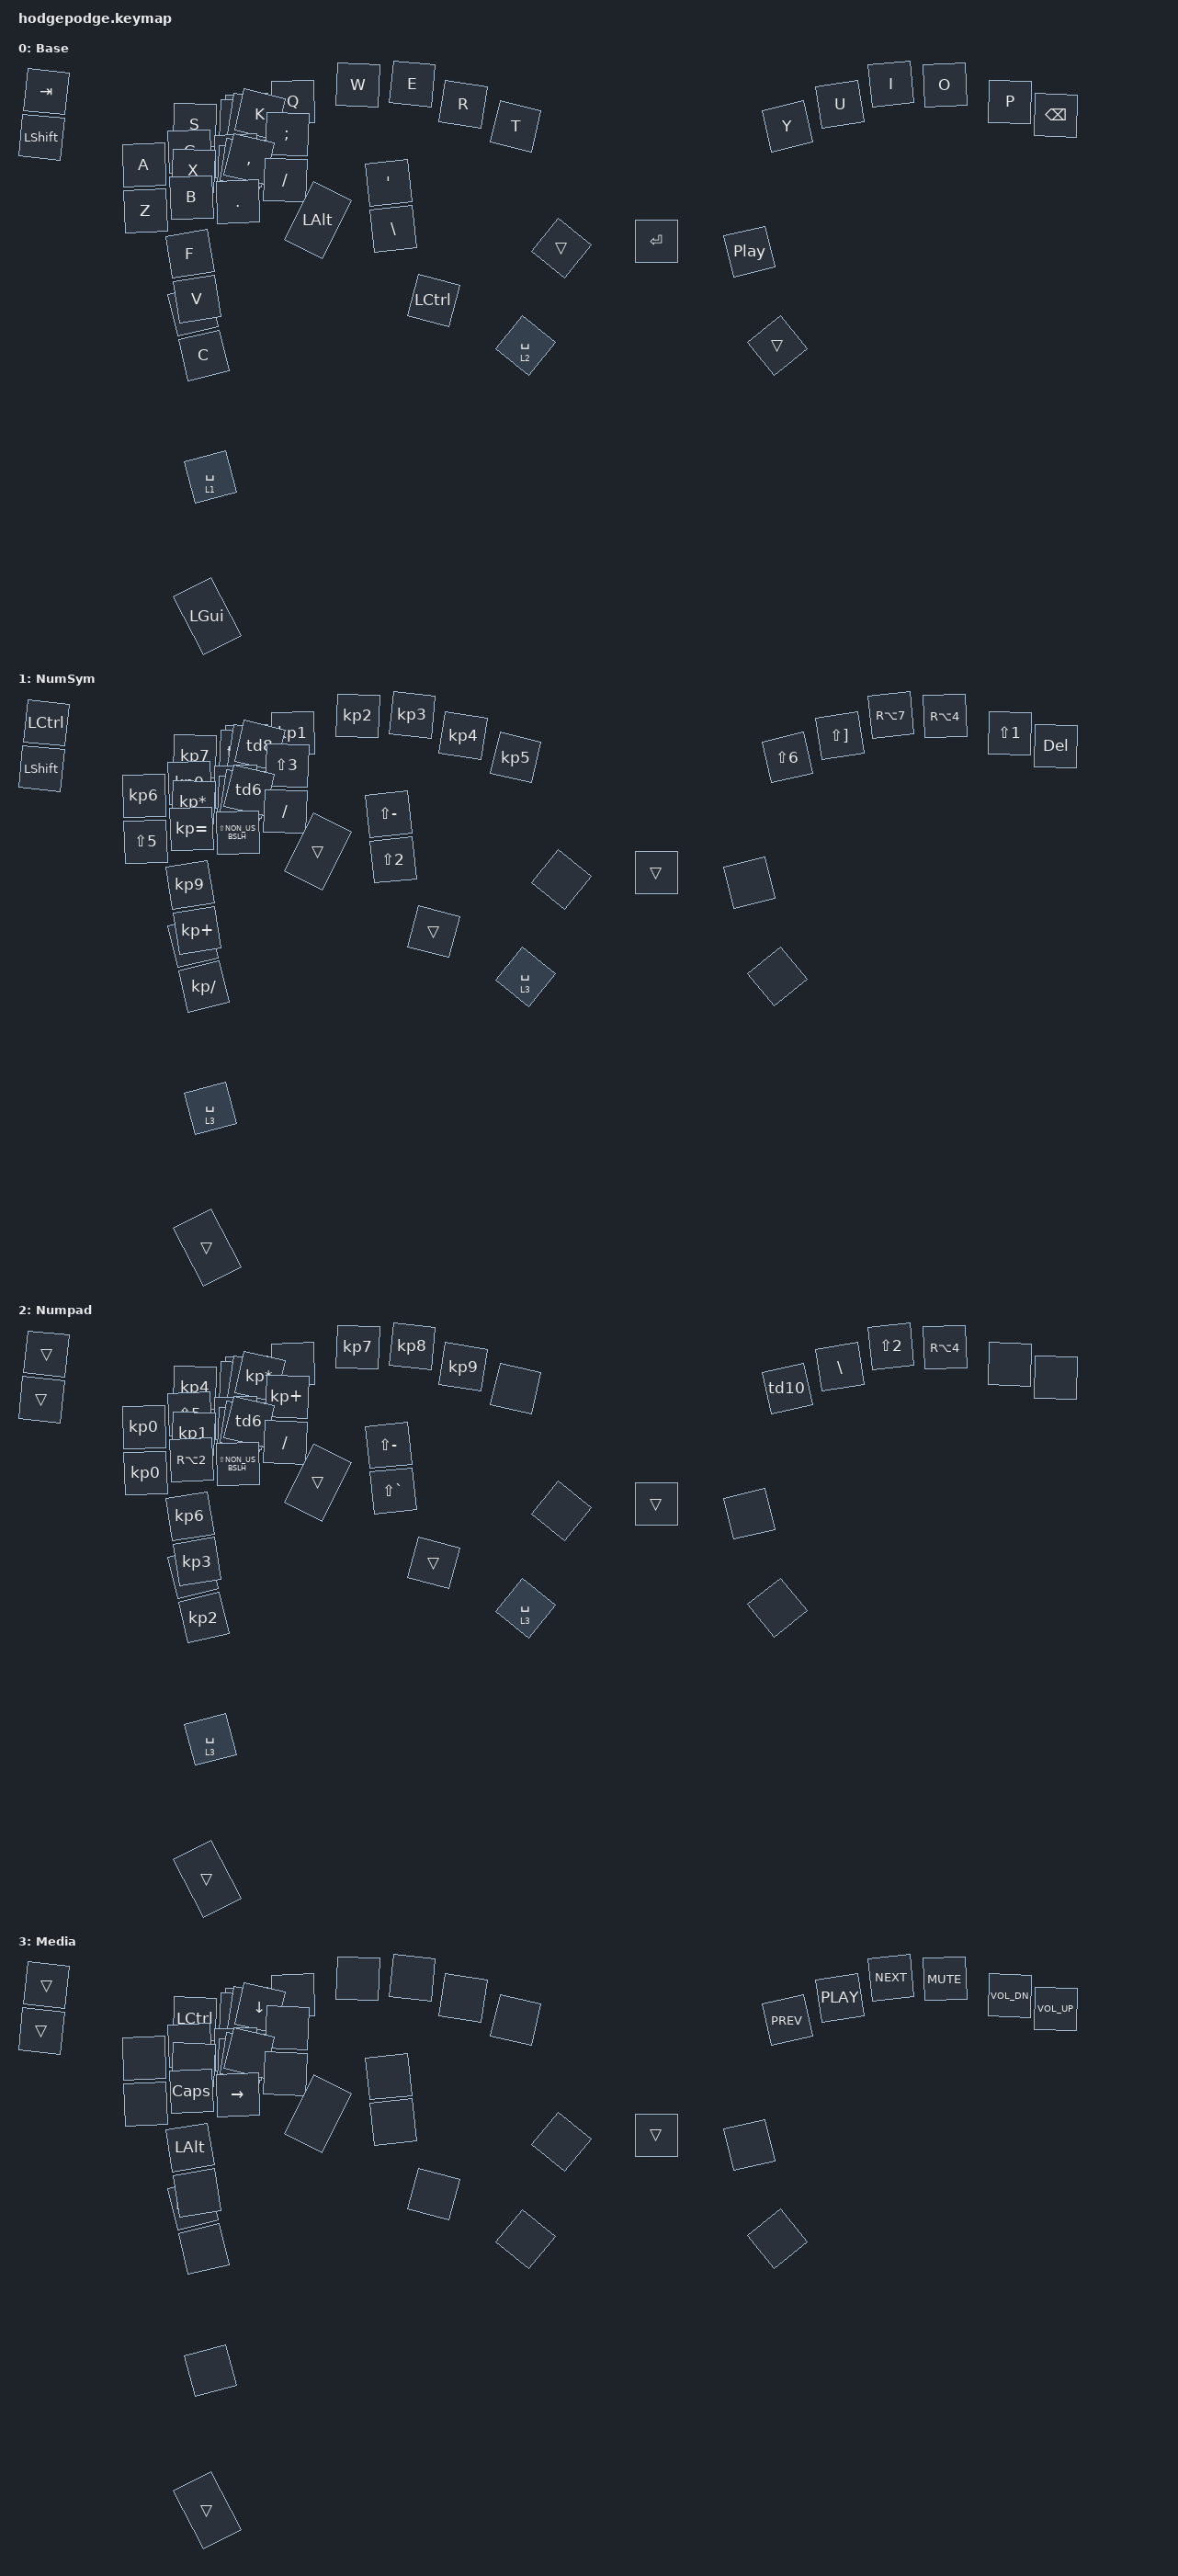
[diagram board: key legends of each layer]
#include <behaviors.dtsi>
#include <dt-bindings/zmk/keys.h>
#include <dt-bindings/zmk/bt.h>

#ifndef KP_1
#define KP_0 0x62
#define KP_1 0x59
#define KP_2 0x5A
#define KP_3 0x5B
#define KP_4 0x5C
#define KP_5 0x5D
#define KP_6 0x5E
#define KP_7 0x5F
#define KP_8 0x60
#define KP_9 0x61
#define KP_SLASH 0x54
#define KP_ASTERISK 0x55
#define KP_PLUS 0x57
#define KP_EQUAL 0x67
#endif

/ {
	behaviors {
		td5: tap_dance_5 {
			compatible = "zmk,behavior-tap-dance";
			label = "TD5";
			#binding-cells = <0>;
			tapping-term-ms = <200>;
			bindings = <&kp LA(RBKT) &macro_6>;
		};
		
		td6: tap_dance_6 {
			compatible = "zmk,behavior-tap-dance";
			label = "TD6";
			#binding-cells = <0>;
			tapping-term-ms = <200>;
			bindings = <&kp NON_US_BSLH &macro_9>;
		};
		
		td7: tap_dance_7 {
			compatible = "zmk,behavior-tap-dance";
			label = "TD7";
			#binding-cells = <0>;
			tapping-term-ms = <200>;
			bindings = <&kp LS(N8) &macro_10>;
		};
		
		td8: tap_dance_8 {
			compatible = "zmk,behavior-tap-dance";
			label = "TD8";
			#binding-cells = <0>;
			tapping-term-ms = <200>;
			bindings = <&kp LA(N8) &macro_11>;
		};
		
		td9: tap_dance_9 {
			compatible = "zmk,behavior-tap-dance";
			label = "TD9";
			#binding-cells = <0>;
			tapping-term-ms = <200>;
			bindings = <&kp LS(LA(N8)) &macro_12>;
		};
		
		td10: tap_dance_10 {
			compatible = "zmk,behavior-tap-dance";
			label = "TD10";
			#binding-cells = <0>;
			tapping-term-ms = <200>;
			bindings = <&kp LS(EQUAL) &macro_13>;
		};
	};
	
	macros {
		macro_6: macro_6 {
			label = "M6";
			compatible = "zmk,behavior-macro";
			#binding-cells = <0>;
			bindings = <&kp LA(RBKT) &kp KP_SLASH>;
		};
		
		macro_7: macro_7 {
			label = "M7";
			compatible = "zmk,behavior-macro";
			#binding-cells = <0>;
			bindings = <&kp P &kp LBKT>;
		};
		
		macro_9: macro_9 {
			label = "M9";
			compatible = "zmk,behavior-macro";
			#binding-cells = <0>;
			bindings = <&kp NON_US_BSLH &kp KP_SLASH>;
		};
		
		macro_10: macro_10 {
			label = "M10";
			compatible = "zmk,behavior-macro";
			#binding-cells = <0>;
			bindings = <&kp LS(N8) &kp LS(N9) &kp LEFT>;
		};
		
		macro_11: macro_11 {
			label = "M11";
			compatible = "zmk,behavior-macro";
			#binding-cells = <0>;
			bindings = <&kp LA(N8) &kp LA(N9) &kp LEFT>;
		};
		
		macro_12: macro_12 {
			label = "M12";
			compatible = "zmk,behavior-macro";
			#binding-cells = <0>;
			bindings = <&kp LS(LA(N8)) &kp LS(LA(N9)) &kp LEFT>;
		};
		
		macro_13: macro_13 {
			label = "M13";
			compatible = "zmk,behavior-macro";
			#binding-cells = <0>;
			bindings = <&kp LS(EQUAL) &kp RA(N4) &kp LS(LA(N8)) &kp LS(LA(N9)) &kp LS(EQUAL) &kp LEFT &kp LEFT>;
		};
	};
	
	combos {
		compatible = "zmk,combos";
		
		combo_quote_semicolon {
			timeout-ms = <200>;
			key-positions = <22 23>;
			bindings = <&kp LBKT>;
		};
		
		combo_semicolon_l {
			timeout-ms = <200>;
			key-positions = <21 22>;
			bindings = <&kp LBKT>;
		};
		
		combo_p_semicolon {
			timeout-ms = <200>;
			key-positions = <10 22>;
			bindings = <&macro_7>;
		};
	};
	
	keymap {
		compatible = "zmk,keymap";
		
		// -----------------------------------------------------------------------------------------
		// | ESC   |  Q   |  W   |  E   |  R   |  T   |   |  Y   |  U   |  I   |  O   |  P  | BSPC |
		// | TAB   |  A   |  S   |  D   |  F   |  G   |   |  H   |  J   |  K   |  L   |  Ö 	| Ä  |
		// | SHIFT |  Z   |  X   |  C   |  V   |  B   |   |  N   |  M   | , 	 | .  	| - 	| ' |
		//                    | CMD | SPACE (LOWER) | ALT |   | CTRL | SPACE (RAISE)  | ENTER |
		default_layer {
			display-name = "Base";
			bindings = <
			&mt (LCTRL | LGUI) ESC  &kp Q  &kp W  &kp E  &kp R  &kp T  &kp Y  &kp U  &kp I  &kp O  &kp P  &kp BSPC
			&kp TAB                 &kp A  &kp S  &kp D  &kp F  &kp G  &kp H  &kp J  &kp K  &kp L  &kp SEMI &kp SQT
			&kp LSHIFT              &kp Z  &kp X  &kp C  &kp V  &kp B  &kp N  &kp M  &kp COMMA &kp DOT &kp SLASH &kp BSLH
			&kp LGUI &lt 1 SPACE &kp LALT &kp LCTRL &lt 2 SPACE &kp RET
			&trans &kp C_PP &trans
			>;
		};
		
		// -----------------------------------------------------------------------------------------
		// | ESC   |  1   |  2   |  3   |  4   |  5   |   |  &   |  ^   |  {   |  $   |  !   | DEL  |
		// | CTRL  |  6   |  7   |  8   |  9   |  0   |   |  (   |  )   |  [   |  ]   |  #   |  ?   |
		// | SHIFT |  %   |  *   |  /   |  +   |  =   |   |  {   |  }   |  <   |  >   |  -   |  "   |
		//                    | CMD | SPACE(HELD) | ALT |   | CTRL | SPACE (MEDIA) | ENTER |
		lower_layer {
			display-name = "NumSym";
			bindings = <
			&trans &kp KP_1 &kp KP_2 &kp KP_3 &kp KP_4 &kp KP_5 &kp LS(N6) &kp LS(RBKT) &kp RA(N7) &kp RA(N4) &kp LS(N1) &kp DEL
			&kp LCTRL &kp KP_6 &kp KP_7 &kp KP_8 &kp KP_9 &kp KP_0 &td7 &kp LS(N9) &td8 &kp LA(N9) &kp LS(N3) &kp LS(MINUS)
			&kp LSHIFT &kp LS(N5) &kp KP_ASTERISK &kp KP_SLASH &kp KP_PLUS &kp KP_EQUAL &td9 &kp LS(LA(N9)) &td6 &kp LS(NON_US_BSLH) &kp SLASH &kp LS(N2)
			&trans &lt 3 SPACE &trans &trans &lt 3 SPACE &trans
			&none  &none  &none
			>;
		};
		
		// -----------------------------------------------------------------------------------------
		// | ESC   |  NO  |  7   |  8   |  9   |  NO  |   |  *   |  '   |  "   |  $   |  NO  |  NO  |
		// | TAB   |  0   |  4   |  5   |  6   |  %   |   |  #   |  /   |  *   |  =   |  +   |  ?   |
		// | SHIFT |  0   |  1   |  2   |  3   |  @   |   |  ~   |  %   |  <   |  >   |  -   |  ½   |
		//                    | CMD | SPACE (MEDIA) | ALT |   | CTRL | SPACE(HELD) | ENTER |
		raise_layer {
			display-name = "Numpad";
			bindings = <
			&trans &none &kp KP_7 &kp KP_8 &kp KP_9 &none &td10 &kp BSLH &kp LS(N2) &kp RA(N4) &none &none
			&trans &kp KP_0 &kp KP_4 &kp KP_5 &kp KP_6 &kp LS(N5) &kp LS(N3) &kp KP_SLASH &kp KP_ASTERISK &kp KP_EQUAL &kp KP_PLUS &kp LS(MINUS)
			&trans &kp KP_0 &kp KP_1 &kp KP_2 &kp KP_3 &kp RA(N2) &td5 &kp LS(N5) &td6 &kp LS(NON_US_BSLH) &kp SLASH &kp LS(GRAVE)
			&trans &lt 3 SPACE &trans &trans &lt 3 SPACE &trans
			&none  &none  &none
			>;
		};
		
		// -----------------------------------------------------------------------------------------
		// | ESC   |  NO  |  NO  |  NO  |  NO  |  NO  |   | PREV | PLAY | NEXT | MUTE | VOL- | VOL+ |
		// | TAB   |  NO  | CTRL | CMD  | ALT  |  NO  |   | LEFT |  UP  | DOWN | RIGHT |  NO  |  NO  |
		// | SHIFT |  NO  |  NO  |  NO  |  NO  | CAPS |   | SPACE | LEFT |  NO  | RIGHT |  NO  |  NO  |
		//                    | CMD | NO | NO |   | NO | NO | ENTER |
		layer3 {
			display-name = "Media";
			bindings = <
			&trans &none &none &none &none &none &kp C_PREV &kp C_PLAY &kp C_NEXT &kp C_MUTE &kp C_VOL_DN &kp C_VOL_UP
			&trans &none &kp LCTRL &kp LGUI &kp LALT &none &kp LEFT &kp UP &kp DOWN &kp RIGHT &none &none
			&trans &none &none &none &none &kp CAPS &kp SPACE &kp LEFT &none &kp RIGHT &none &none
			&trans &none &none &none &none &trans
			&none  &none  &none
			>;
		};
	};
};
